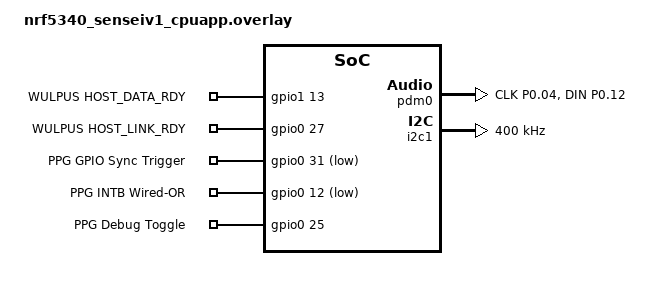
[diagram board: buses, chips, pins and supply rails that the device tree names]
#include <zephyr/dt-bindings/gpio/gpio.h>

/*
 * Copyright (c) 2025 ETH Zurich and University of Bologna
 * SPDX-License-Identifier: Apache-2.0
 *
 * Device tree overlay for PDM microphone
 *
 * Connect your PDM microphone as follows:
 *   - CLK: P1.11 (microphone clock input)
 *   - DATA: P0.12 (microphone data output)
 *   - VDD: 1.8V or 3.3V (depending on your microphone)
 *   - GND: Ground
 */

&clock {
    hfclkaudio-frequency = <12288000>;
};

&pinctrl {
    pdm_default: pdm_default {
        group1 {
            psels = <NRF_PSEL(PDM_CLK, 0, 04)>,
                    <NRF_PSEL(PDM_DIN, 0, 12)>;
        };
    };
};

dmic_dev: &pdm0 {
    status = "okay";
    pinctrl-0 = <&pdm_default>;
    pinctrl-names = "default";
    clock-source = "ACLK";
};

// /*
//  * Inter-board synchronization GPIO
//  *
//  * Connect between boards:
//  *   - PRIMARY board: P0.05 (output)
//  *   - SECONDARY board: P0.05 (input)
//  *   - Common GND between boards
//  *
//  * Change the pin number if P0.05 is not available on your hardware.
//  */
// / {
//     sync {
//         compatible = "gpio-keys";
//         gpio_board_sync: gpio_board_sync {
//             gpios = <&gpio0 5 GPIO_ACTIVE_HIGH>;
//             label = "Board Sync Pin";
//         };
//     };
// };

/*
 * Multi-PPG sensor subsystem GPIOs (SWAPPED)
 *
 * ppg_sync  – P0.31, active-low output.
 *   Connect to all MAXM86161 GPIO inputs (shorted together).
 *   A falling-edge pulse triggers simultaneous sample acquisition.
 *
 * ppg_intb  – P0.12, active-low input (open-drain wired-OR).
 *   All MAXM86161 INTB outputs are shorted here; goes low when any sensor
 *   FIFO reaches the configured threshold (i.e. all sensors, since they are
 *   triggered synchronously).
 *   NOTE: P0.12 is shared with the PDM microphone DATA line in this overlay.
 */
/*
 * WULPUS ultrasound sensor control GPIOs
 *
 *   HOST_DATA_RDY – P1.13, active-high input (open-drain from MSP430).
 *     Rising edge signals that the MSP430 has a new US frame ready.
 *
 *   HOST_LINK_RDY – P0.27, active-high output.
 *     Driven HIGH by the nRF5340 once the BLE link is up and the MSP430
 *     configuration has been received, telling the MSP430 to start sending.
 *
 * SPI_B pins are configured directly by the NRFX SPIM1 driver in wulpus_appl.c
 * and therefore require no device-tree entries:
 *   SCK=P1.07  MOSI=P0.30  MISO=P0.29  CS=P1.08
 */
/ {
    wulpus_gpios {
        compatible = "gpio-keys";
        wulpus_host_data_rdy: wulpus_host_data_rdy {
            gpios = <&gpio1 13 GPIO_ACTIVE_HIGH>;
            label = "WULPUS HOST_DATA_RDY";
        };
        wulpus_host_link_rdy: wulpus_host_link_rdy {
            gpios = <&gpio0 27 GPIO_ACTIVE_HIGH>;
            label = "WULPUS HOST_LINK_RDY";
        };
    };
};

/ {
    ppg_gpios {
        compatible = "gpio-keys";
        ppg_sync: ppg_sync {
            gpios = <&gpio0 31 GPIO_ACTIVE_LOW>;
            label = "PPG GPIO Sync Trigger";
        };
        ppg_intb: ppg_intb {
            gpios = <&gpio0 12 GPIO_ACTIVE_LOW>;
            label = "PPG INTB Wired-OR";
        };
        ppg_debug: ppg_debug_gpio {
            gpios = <&gpio0 25 GPIO_ACTIVE_HIGH>;
            label = "PPG Debug Toggle";
        };
    };
};

/*
 * I2C_B (i2c1) bus speed configuration
 * SCL=P1.10, SDA=P0.24
 */
&i2c1 {
    clock-frequency = <400000>;  /* 400 kHz */
};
